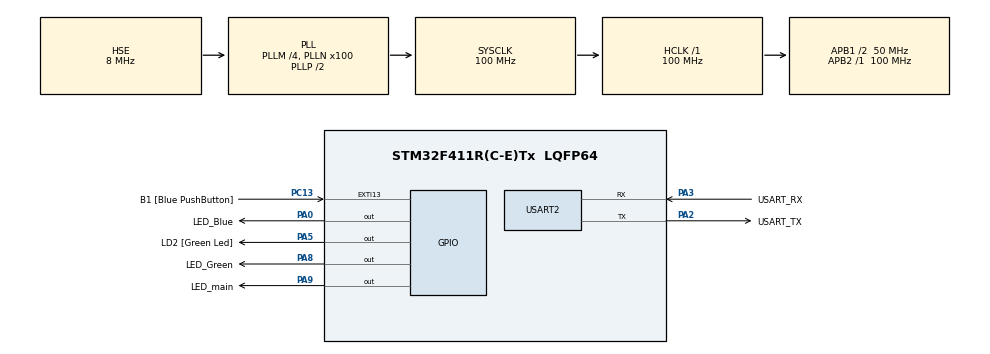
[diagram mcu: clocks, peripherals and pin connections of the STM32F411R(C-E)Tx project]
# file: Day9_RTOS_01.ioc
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Dma.Request0=USART2_RX
Dma.USART2_RX.0.Direction=DMA_PERIPH_TO_MEMORY
Dma.USART2_RX.0.FIFOMode=DMA_FIFOMODE_DISABLE
Dma.USART2_RX.0.Instance=DMA1_Stream5
Dma.USART2_RX.0.MemDataAlignment=DMA_MDATAALIGN_BYTE
Dma.USART2_RX.0.MemInc=DMA_MINC_ENABLE
Dma.USART2_RX.0.Mode=DMA_CIRCULAR
Dma.USART2_RX.0.PeriphDataAlignment=DMA_PDATAALIGN_BYTE
Dma.USART2_RX.0.PeriphInc=DMA_PINC_DISABLE
Dma.USART2_RX.0.Priority=DMA_PRIORITY_LOW
FREERTOS.Tasks01=defaultTask,0,128,StartDefaultTask,Default,NULL,Dynamic,NULL,NULL;Task_LED_Red,-3,128,Task_LED_R,Default,NULL,Dynamic,NULL,NULL;Task_LED_Green,-3,128,Task_LED_G,Default,NULL,Dynamic,NULL,NULL;Task_LED_Blue,-3,128,Task_LED_B,Default,NULL,Dynamic,NULL,NULL
FREERTOS.configUSE_NEWLIB_REENTRANT=1
Mcu.Family=STM32F4
Mcu.Name=STM32F411R(C-E)Tx
Mcu.Package=LQFP64
NVIC.DMA1_Stream5_IRQn=true\:5\:0\:false\:false\:true\:true\:false\:true\:true
NVIC.PriorityGroup=NVIC_PRIORITYGROUP_4
NVIC.TIM3_IRQn=true\:15\:0\:false\:false\:true\:false\:false\:true\:true
NVIC.TimeBase=TIM3_IRQn
NVIC.TimeBaseIP=TIM3
PA0-WKUP.GPIO_Label=LED_Blue
PA0-WKUP.Signal=GPIO_Output
PA13.GPIO_Label=TMS
PA13.Mode=Serial_Wire
PA13.Signal=SYS_JTMS-SWDIO
PA14.GPIO_Label=TCK
PA14.Mode=Serial_Wire
PA14.Signal=SYS_JTCK-SWCLK
PA2.GPIO_Label=USART_TX
PA2.Mode=Asynchronous
PA2.Signal=USART2_TX
PA3.GPIO_Label=USART_RX
PA3.Mode=Asynchronous
PA3.Signal=USART2_RX
PA5.GPIO_Label=LD2 [Green Led]
PA5.Signal=GPIO_Output
PA8.GPIO_Label=LED_Green
PA8.Signal=GPIO_Output
PA9.GPIO_Label=LED_main
PA9.Signal=GPIO_Output
PB3.GPIO_Label=SWO
PB3.Signal=SYS_JTDO-SWO
PC13-ANTI_TAMP.GPIO_Label=B1 [Blue PushButton]
PC13-ANTI_TAMP.GPIO_ModeDefaultEXTI=GPIO_MODE_IT_FALLING
PC13-ANTI_TAMP.Signal=GPXTI13
PC14-OSC32_IN.Mode=LSE-External-Oscillator
PC14-OSC32_IN.Signal=RCC_OSC32_IN
PC15-OSC32_OUT.Mode=LSE-External-Oscillator
PC15-OSC32_OUT.Signal=RCC_OSC32_OUT
PH0\ -\ OSC_IN.Mode=HSE-External-Clock-Source
PH0\ -\ OSC_IN.Signal=RCC_OSC_IN
PH1\ -\ OSC_OUT.Mode=HSE-External-Clock-Source
PH1\ -\ OSC_OUT.Signal=RCC_OSC_OUT
ProjectManager.HeapSize=0x200
ProjectManager.StackSize=0x400
ProjectManager.TargetToolchain=STM32CubeIDE
RCC.48MHZClocksFreq_Value=50000000
RCC.AHBFreq_Value=100000000
RCC.APB1CLKDivider=RCC_HCLK_DIV2
RCC.APB1Freq_Value=50000000
RCC.APB1TimFreq_Value=100000000
RCC.APB2Freq_Value=100000000
RCC.APB2TimFreq_Value=100000000
RCC.CortexFreq_Value=100000000
RCC.FLatency-AdvancedSettings=FLASH_LATENCY_3
RCC.HCLKFreq_Value=100000000
RCC.HSE_VALUE=8000000
RCC.HSI_VALUE=16000000
RCC.PLLM=4
RCC.PLLN=100
RCC.PLLSourceVirtual=RCC_PLLSOURCE_HSE
RCC.SYSCLKFreq_VALUE=100000000
RCC.SYSCLKSource=RCC_SYSCLKSOURCE_PLLCLK
RCC.VCOOutputFreq_Value=200000000
USART2.VirtualMode=VM_ASYNC
VP_FREERTOS_VS_CMSIS_V1.Mode=CMSIS_V1
VP_SYS_VS_tim3.Mode=TIM3
board=NUCLEO-F411RE

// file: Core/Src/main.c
/* USER CODE BEGIN Header */
/**
  ******************************************************************************
  * @file           : main.c
  * @brief          : Main program body
  ******************************************************************************
  * @attention
  *
  * Copyright (c) 2023 STMicroelectronics.
  * All rights reserved.
  *
  * This software is licensed under terms that can be found in the LICENSE file
  * in the root directory of this software component.
  * If no LICENSE file comes with this software, it is provided AS-IS.
  *
  ******************************************************************************
  */
/* USER CODE END Header */
#include "main.h"
#include "cmsis_os.h"
#include <stdio.h>

UART_HandleTypeDef huart2;
DMA_HandleTypeDef hdma_usart2_rx;

osThreadId defaultTaskHandle;
osThreadId Task_LED_RedHandle;
osThreadId Task_LED_GreenHandle;
osThreadId Task_LED_BlueHandle;
/* USER CODE BEGIN PV */
char rxbuf[100];
int cMode; // LED Control : 1, 2, 3(R, G, Y) / 4(All)
/* USER CODE END PV */

void SystemClock_Config(void);
static void MX_GPIO_Init(void);
static void MX_DMA_Init(void);
static void MX_USART2_UART_Init(void);
void StartDefaultTask(void const * argument);
void Task_LED_R(void const * argument);
void Task_LED_G(void const * argument);
void Task_LED_B(void const * argument);

/* USER CODE BEGIN PFP */
int __io_putchar(int ch)
{
	HAL_UART_Transmit(&huart2, &ch, 1, 10);
	return ch;
}
int __io_getchar(void)
{
	int ch;
	while(1)
	{
		if(HAL_UART_Receive(&huart2, &ch, 1, 10) == HAL_OK)
		break;
	}
	if (ch == '\b' || ch == 0x7f)
	{
		HAL_UART_Transmit(&huart2, "\b \b", 3, 10); // \b \b : 총 세 글자이기때문에 3
	}
	else if(ch == '\n')
	{
		HAL_UART_Transmit(&huart2, "\r\n", 2, 10);
	}
	else HAL_UART_Transmit(&huart2, &ch, 1, 10);

	return ch;
}
/* USER CODE END PFP */

int main(void)
{

  /* MCU Configuration--------------------------------------------------------*/

  /* Reset of all peripherals, Initializes the Flash interface and the Systick. */
  HAL_Init();

  /* Configure the system clock */
  SystemClock_Config();

  /* Initialize all configured peripherals */
  MX_GPIO_Init();
  MX_DMA_Init();
  MX_USART2_UART_Init();
  /* USER CODE BEGIN 2 */
  // HAL_UART_Receive_DMA(&huart2, rxbuf, 100);
  // DMA가 두 가지 방식이므로 Receive, Circular DMA에 방식이므로 100까지 쌓이다가 처음부터 다시 쌓임
  // 근데 이렇게 하면 별도로 DMA를 관리하는 기능이 추가로 필요하다.
  // Circular mode이므로 내가 최종적으로 받은 데이터가 어디에 위치하는지 잘 모르게 됨.
  // 그래서 그냥 심플하게 size를 1로 하면 편함
  HAL_UART_Receive_DMA(&huart2, &rxbuf, 1);
  /* USER CODE END 2 */

  /* Create the thread(s) */
  /* definition and creation of defaultTask */
  osThreadDef(defaultTask, StartDefaultTask, osPriorityNormal, 0, 128);
  defaultTaskHandle = osThreadCreate(osThread(defaultTask), NULL);

  /* definition and creation of Task_LED_Red */
  osThreadDef(Task_LED_Red, Task_LED_R, osPriorityIdle, 0, 128);
  Task_LED_RedHandle = osThreadCreate(osThread(Task_LED_Red), NULL);

  /* definition and creation of Task_LED_Green */
  osThreadDef(Task_LED_Green, Task_LED_G, osPriorityIdle, 0, 128);
  Task_LED_GreenHandle = osThreadCreate(osThread(Task_LED_Green), NULL);

  /* definition and creation of Task_LED_Blue */
  osThreadDef(Task_LED_Blue, Task_LED_B, osPriorityIdle, 0, 128);
  Task_LED_BlueHandle = osThreadCreate(osThread(Task_LED_Blue), NULL);

  /* Start scheduler */
  osKernelStart();

  /* We should never get here as control is now taken by the scheduler */
  /* Infinite loop */
  while (1)
  {

  }
}

void SystemClock_Config(void)
{
  RCC_OscInitTypeDef RCC_OscInitStruct = {0};
  RCC_ClkInitTypeDef RCC_ClkInitStruct = {0};

  /** Configure the main internal regulator output voltage
  */
  __HAL_RCC_PWR_CLK_ENABLE();
  __HAL_PWR_VOLTAGESCALING_CONFIG(PWR_REGULATOR_VOLTAGE_SCALE1);

  /** Initializes the RCC Oscillators according to the specified parameters
  * in the RCC_OscInitTypeDef structure.
  */
  RCC_OscInitStruct.OscillatorType = RCC_OSCILLATORTYPE_HSE;
  RCC_OscInitStruct.HSEState = RCC_HSE_BYPASS;
  RCC_OscInitStruct.PLL.PLLState = RCC_PLL_ON;
  RCC_OscInitStruct.PLL.PLLSource = RCC_PLLSOURCE_HSE;
  RCC_OscInitStruct.PLL.PLLM = 4;
  RCC_OscInitStruct.PLL.PLLN = 100;
  RCC_OscInitStruct.PLL.PLLP = RCC_PLLP_DIV2;
  RCC_OscInitStruct.PLL.PLLQ = 4;
  if (HAL_RCC_OscConfig(&RCC_OscInitStruct) != HAL_OK)
  {
    Error_Handler();
  }

  /** Initializes the CPU, AHB and APB buses clocks
  */
  RCC_ClkInitStruct.ClockType = RCC_CLOCKTYPE_HCLK|RCC_CLOCKTYPE_SYSCLK
                              |RCC_CLOCKTYPE_PCLK1|RCC_CLOCKTYPE_PCLK2;
  RCC_ClkInitStruct.SYSCLKSource = RCC_SYSCLKSOURCE_PLLCLK;
  RCC_ClkInitStruct.AHBCLKDivider = RCC_SYSCLK_DIV1;
  RCC_ClkInitStruct.APB1CLKDivider = RCC_HCLK_DIV2;
  RCC_ClkInitStruct.APB2CLKDivider = RCC_HCLK_DIV1;

  if (HAL_RCC_ClockConfig(&RCC_ClkInitStruct, FLASH_LATENCY_3) != HAL_OK)
  {
    Error_Handler();
  }
}

static void MX_USART2_UART_Init(void)
{

  huart2.Instance = USART2;
  huart2.Init.BaudRate = 115200;
  huart2.Init.WordLength = UART_WORDLENGTH_8B;
  huart2.Init.StopBits = UART_STOPBITS_1;
  huart2.Init.Parity = UART_PARITY_NONE;
  huart2.Init.Mode = UART_MODE_TX_RX;
  huart2.Init.HwFlowCtl = UART_HWCONTROL_NONE;
  huart2.Init.OverSampling = UART_OVERSAMPLING_16;
  if (HAL_UART_Init(&huart2) != HAL_OK)
  {
    Error_Handler();
  }

}

static void MX_DMA_Init(void)
{

  /* DMA controller clock enable */
  __HAL_RCC_DMA1_CLK_ENABLE();

  /* DMA interrupt init */
  /* DMA1_Stream5_IRQn interrupt configuration */
  HAL_NVIC_SetPriority(DMA1_Stream5_IRQn, 5, 0);
  HAL_NVIC_EnableIRQ(DMA1_Stream5_IRQn);

}

static void MX_GPIO_Init(void)
{
  GPIO_InitTypeDef GPIO_InitStruct = {0};

  /* GPIO Ports Clock Enable */
  __HAL_RCC_GPIOC_CLK_ENABLE();
  __HAL_RCC_GPIOH_CLK_ENABLE();
  __HAL_RCC_GPIOA_CLK_ENABLE();
  __HAL_RCC_GPIOB_CLK_ENABLE();

  /*Configure GPIO pin Output Level */
  HAL_GPIO_WritePin(GPIOA, LED_Blue_Pin|LD2_Pin|LED_Green_Pin|LED_main_Pin, GPIO_PIN_RESET);

  /*Configure GPIO pin : B1_Pin */
  GPIO_InitStruct.Pin = B1_Pin;
  GPIO_InitStruct.Mode = GPIO_MODE_IT_FALLING;
  GPIO_InitStruct.Pull = GPIO_NOPULL;
  HAL_GPIO_Init(B1_GPIO_Port, &GPIO_InitStruct);

  /*Configure GPIO pins : LED_Blue_Pin LD2_Pin LED_Green_Pin LED_main_Pin */
  GPIO_InitStruct.Pin = LED_Blue_Pin|LD2_Pin|LED_Green_Pin|LED_main_Pin;
  GPIO_InitStruct.Mode = GPIO_MODE_OUTPUT_PP;
  GPIO_InitStruct.Pull = GPIO_NOPULL;
  GPIO_InitStruct.Speed = GPIO_SPEED_FREQ_LOW;
  HAL_GPIO_Init(GPIOA, &GPIO_InitStruct);

}

/* USER CODE BEGIN 4 */
int state = 0; // Input state : 0 / ready , 1 / data
/* USER CODE END 4 */

void StartDefaultTask(void const * argument)
{
  /* USER CODE BEGIN 5 */
  /* Infinite loop */
  for(;;)
  {
	 if(state == 0)
	 {
		 printf("    <LED Control>    \r\n");
		 printf("cMode = 1 ----> Red\r\n");
		 printf("cMode = 2 ----> Green\r\n");
		 printf("cMode = 3 ----> Yellow\r\n");
		 printf("cMode = 4 ----> All\r\n");
		 printf("Press cMode + [Enter]...\r\n");
		 state = 1;
	 }
	 else if (rxbuf[0] != 0) // rxbuf 에 어떤 값이라도 들어와 있다면?
	 {
		 cMode = rxbuf[0]-48; // __io_gethar() 대신 rxbuf[0]에 저장되므로
		 state = 0;
		 printf("LED Mode : %d\r\n", cMode);
		 rxbuf[0] = 0; // 다시 0을 넣어줘야 무한반복되지 않는다.
		 // cMode는 이전 rxbuf[0] 값이 들어가기 때문에 LED 출력은 유지된다.
//		 printf("\r\n");
//		 printf("\r\n");
//		 printf("\r\n");
	 }
    osDelay(200);
  }
  /* USER CODE END 5 */
}

void Task_LED_R(void const * argument)
{
  /* USER CODE BEGIN Task_LED_R */
  /* Infinite loop */
  for(;;)
  {
	if(cMode == 1 || cMode == 4) HAL_GPIO_TogglePin(LD2_GPIO_Port, LD2_Pin);
    osDelay(100);
  }
  /* USER CODE END Task_LED_R */
}

void Task_LED_G(void const * argument)
{
  /* USER CODE BEGIN Task_LED_G */
  /* Infinite loop */
  for(;;)
  {
	  if(cMode == 2 || cMode == 4) HAL_GPIO_TogglePin(LED_Green_GPIO_Port, LED_Green_Pin);
    osDelay(100);
  }
  /* USER CODE END Task_LED_G */
}

void Task_LED_B(void const * argument)
{
  /* USER CODE BEGIN Task_LED_B */
  /* Infinite loop */
  for(;;)
  {
	  if(cMode == 3 || cMode == 4) HAL_GPIO_TogglePin(LED_Blue_GPIO_Port, LED_Blue_Pin);
	  osDelay(100);
  }
  /* USER CODE END Task_LED_B */
}

void HAL_TIM_PeriodElapsedCallback(TIM_HandleTypeDef *htim)
{
  if (htim->Instance == TIM3) {
    HAL_IncTick();
  }
}

void Error_Handler(void)
{
  __disable_irq();
  while (1)
  {
  }
}
